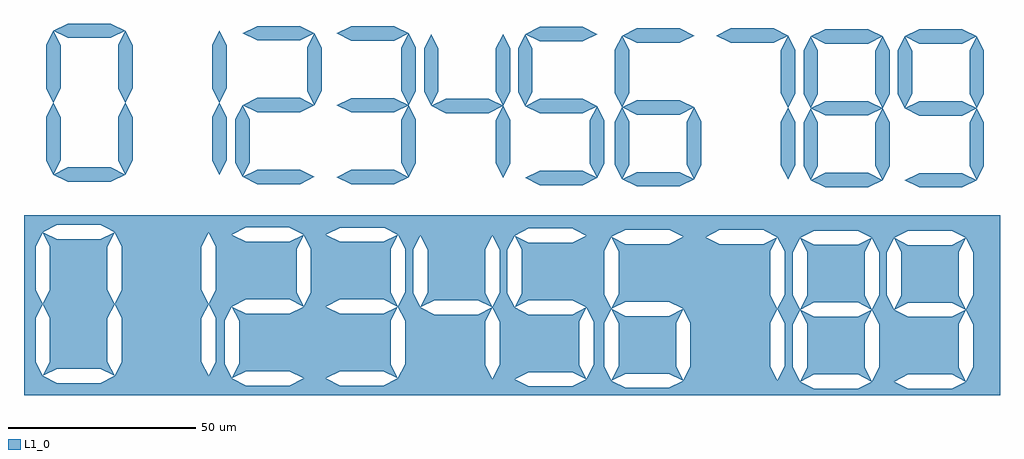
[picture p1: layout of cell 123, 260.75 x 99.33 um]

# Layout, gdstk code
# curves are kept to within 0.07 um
import gdstk
lib = gdstk.Library(unit=1e-6, precision=1e-09)
def P(c, l, *ps):  # polygons
    for p in ps: c.add(gdstk.Polygon(p, *l))
L1_0 = (1, 0)

c_123 = lib.new_cell('123')
P(c_123, L1_0, [(-95.42,-76.6),(-97.34,-72.76),(-97.34,-61.24),(-95.42,-57.4),(-93.5,-61.24),(-93.5,-72.76)],
  [(-76.22,-95.8),(-78.14,-91.96),(-78.14,-80.44),(-76.22,-76.6),(-74.3,-80.44),(-74.3,-91.96)],
  [(-91.58,-59.32),(-95.42,-57.4),(-91.58,-55.48),(-80.06,-55.48),(-76.22,-57.4),(-80.06,-59.32)],
  [(-91.58,-97.72),(-95.42,-95.8),(-91.58,-93.88),(-80.06,-93.88),(-76.22,-95.8),(-80.06,-97.72)],
  [(-76.22,-76.6),(-78.14,-72.76),(-78.14,-61.24),(-76.22,-57.4),(-74.3,-61.24),(-74.3,-72.76)],
  [(-95.42,-95.8),(-97.34,-91.96),(-97.34,-80.44),(-95.42,-76.6),(-93.5,-80.44),(-93.5,-91.96)],
  [(-51.08,-95.82),(-53,-91.98),(-53,-80.46),(-51.08,-76.62),(-49.16,-80.46),(-49.16,-91.98)],
  [(-51.08,-76.62),(-53,-72.78),(-53,-61.26),(-51.08,-57.42),(-49.16,-61.26),(-49.16,-72.78)],
  [(-41.04,-79.18),(-44.88,-77.26),(-41.04,-75.34),(-29.52,-75.34),(-25.68,-77.26),(-29.52,-79.18)],
  [(-41.04,-59.98),(-44.88,-58.06),(-41.04,-56.14),(-29.52,-56.14),(-25.68,-58.06),(-29.52,-59.98)],
  [(-41.04,-98.38),(-44.88,-96.46),(-41.04,-94.54),(-29.52,-94.54),(-25.68,-96.46),(-29.52,-98.38)],
  [(-25.68,-77.26),(-27.6,-73.42),(-27.6,-61.9),(-25.68,-58.06),(-23.76,-61.9),(-23.76,-73.42)],
  [(-44.88,-96.46),(-46.8,-92.62),(-46.8,-81.1),(-44.88,-77.26),(-42.96,-81.1),(-42.96,-92.62)],
  [(-0.54,-96.48),(-2.46,-92.64),(-2.46,-81.12),(-0.54,-77.28),(1.38,-81.12),(1.38,-92.64)],
  [(-15.9,-79.2),(-19.74,-77.28),(-15.9,-75.36),(-4.38,-75.36),(-0.54,-77.28),(-4.38,-79.2)],
  [(-15.9,-60),(-19.74,-58.08),(-15.9,-56.16),(-4.38,-56.16),(-0.54,-58.08),(-4.38,-60)],
  [(-15.9,-98.4),(-19.74,-96.48),(-15.9,-94.56),(-4.38,-94.56),(-0.54,-96.48),(-4.38,-98.4)],
  [(-0.54,-77.28),(-2.46,-73.44),(-2.46,-61.92),(-0.54,-58.08),(1.38,-61.92),(1.38,-73.44)],
  [(5.5,-77.48),(3.58,-73.64),(3.58,-62.12),(5.5,-58.28),(7.42,-62.12),(7.42,-73.64)],
  [(24.7,-96.68),(22.78,-92.84),(22.78,-81.32),(24.7,-77.48),(26.62,-81.32),(26.62,-92.84)],
  [(9.34,-79.4),(5.5,-77.48),(9.34,-75.56),(20.86,-75.56),(24.7,-77.48),(20.86,-79.4)],
  [(24.7,-77.48),(22.78,-73.64),(22.78,-62.12),(24.7,-58.28),(26.62,-62.12),(26.62,-73.64)],
  [(30.64,-77.5),(28.72,-73.66),(28.72,-62.14),(30.64,-58.3),(32.56,-62.14),(32.56,-73.66)],
  [(49.84,-96.7),(47.92,-92.86),(47.92,-81.34),(49.84,-77.5),(51.76,-81.34),(51.76,-92.86)],
  [(34.48,-79.42),(30.64,-77.5),(34.48,-75.58),(46,-75.58),(49.84,-77.5),(46,-79.42)],
  [(34.48,-60.22),(30.64,-58.3),(34.48,-56.38),(46,-56.38),(49.84,-58.3),(46,-60.22)],
  [(34.48,-98.62),(30.64,-96.7),(34.48,-94.78),(46,-94.78),(49.84,-96.7),(46,-98.62)],
  [(56.52,-77.88),(54.6,-74.04),(54.6,-62.52),(56.52,-58.68),(58.44,-62.52),(58.44,-74.04)],
  [(75.72,-97.08),(73.8,-93.24),(73.8,-81.72),(75.72,-77.88),(77.64,-81.72),(77.64,-93.24)],
  [(60.36,-79.8),(56.52,-77.88),(60.36,-75.96),(71.88,-75.96),(75.72,-77.88),(71.88,-79.8)],
  [(60.36,-60.6),(56.52,-58.68),(60.36,-56.76),(71.88,-56.76),(75.72,-58.68),(71.88,-60.6)],
  [(60.36,-99),(56.52,-97.08),(60.36,-95.16),(71.88,-95.16),(75.72,-97.08),(71.88,-99)],
  [(56.52,-97.08),(54.6,-93.24),(54.6,-81.72),(56.52,-77.88),(58.44,-81.72),(58.44,-93.24)],
  [(100.86,-97.1),(98.94,-93.26),(98.94,-81.74),(100.86,-77.9),(102.78,-81.74),(102.78,-93.26)],
  [(85.5,-60.62),(81.66,-58.7),(85.5,-56.78),(97.02,-56.78),(100.86,-58.7),(97.02,-60.62)],
  [(100.86,-77.9),(98.94,-74.06),(98.94,-62.54),(100.86,-58.7),(102.78,-62.54),(102.78,-74.06)],
  [(106.9,-78.1),(104.98,-74.26),(104.98,-62.74),(106.9,-58.9),(108.82,-62.74),(108.82,-74.26)],
  [(126.1,-97.3),(124.18,-93.46),(124.18,-81.94),(126.1,-78.1),(128.02,-81.94),(128.02,-93.46)],
  [(110.74,-80.02),(106.9,-78.1),(110.74,-76.18),(122.26,-76.18),(126.1,-78.1),(122.26,-80.02)],
  [(110.74,-60.82),(106.9,-58.9),(110.74,-56.98),(122.26,-56.98),(126.1,-58.9),(122.26,-60.82)],
  [(110.74,-99.22),(106.9,-97.3),(110.74,-95.38),(122.26,-95.38),(126.1,-97.3),(122.26,-99.22)],
  [(126.1,-78.1),(124.18,-74.26),(124.18,-62.74),(126.1,-58.9),(128.02,-62.74),(128.02,-74.26)],
  [(106.9,-97.3),(104.98,-93.46),(104.98,-81.94),(106.9,-78.1),(108.82,-81.94),(108.82,-93.46)],
  [(132.04,-78.12),(130.12,-74.28),(130.12,-62.76),(132.04,-58.92),(133.96,-62.76),(133.96,-74.28)],
  [(151.24,-97.32),(149.32,-93.48),(149.32,-81.96),(151.24,-78.12),(153.16,-81.96),(153.16,-93.48)],
  [(135.88,-80.04),(132.04,-78.12),(135.88,-76.2),(147.4,-76.2),(151.24,-78.12),(147.4,-80.04)],
  [(135.88,-60.84),(132.04,-58.92),(135.88,-57),(147.4,-57),(151.24,-58.92),(147.4,-60.84)],
  [(135.88,-99.24),(132.04,-97.32),(135.88,-95.4),(147.4,-95.4),(151.24,-97.32),(147.4,-99.24)],
  [(151.24,-78.12),(149.32,-74.28),(149.32,-62.76),(151.24,-58.92),(153.16,-62.76),(153.16,-74.28)],
  [(104.03,-151.1),(105.95,-147.26),(105.95,-135.74),(104.03,-131.9),(107.87,-133.82),(119.39,-133.82),(123.23,-131.9),(121.31,-135.74),(121.31,-147.26),(123.23,-151.1),(119.39,-149.18),(107.87,-149.18)],
  [(53.65,-150.88),(55.57,-147.04),(55.57,-135.52),(53.65,-131.68),(57.49,-133.6),(69.01,-133.6),(72.85,-131.68),(70.93,-135.52),(70.93,-147.04),(72.85,-150.88),(69.01,-148.96),(57.49,-148.96)],
  [(129.17,-131.92),(131.09,-128.08),(131.09,-116.56),(129.17,-112.72),(133.01,-114.64),(144.53,-114.64),(148.37,-112.72),(146.45,-116.56),(146.45,-128.08),(148.37,-131.92),(144.53,-130),(133.01,-130)],
  [(104.03,-131.9),(105.95,-128.06),(105.95,-116.54),(104.03,-112.7),(107.87,-114.62),(119.39,-114.62),(123.23,-112.7),(121.31,-116.54),(121.31,-128.06),(123.23,-131.9),(119.39,-129.98),(107.87,-129.98)],
  [(-98.29,-149.6),(-96.37,-145.76),(-96.37,-134.24),(-98.29,-130.4),(-96.37,-126.56),(-96.37,-115.04),(-98.29,-111.2),(-94.45,-113.12),(-82.93,-113.12),(-79.09,-111.2),(-81.01,-115.04),(-81.01,-126.56),(-79.09,-130.4),(-81.01,-134.24),(-81.01,-145.76),(-79.09,-149.6),(-82.93,-147.68),(-94.45,-147.68)],
  [(-103.29,-154.81),(-103.29,-109.28),(-94.45,-109.28),(-98.29,-111.2),(-100.21,-115.04),(-100.21,-126.56),(-98.29,-130.4),(-100.21,-134.24),(-100.21,-145.76),(-98.29,-149.6),(-94.45,-151.52),(-82.93,-151.52),(-79.09,-149.6),(-77.17,-145.76),(-77.17,-134.24),(-79.09,-130.4),(-77.17,-126.56),(-77.17,-115.04),(-79.08,-111.22),(-53.95,-111.22),(-55.87,-115.06),(-55.87,-126.58),(-53.95,-130.42),(-55.87,-134.26),(-55.87,-145.78),(-53.95,-149.62),(-52.03,-145.78),(-52.03,-134.26),(-53.95,-130.42),(-52.03,-126.58),(-52.03,-115.06),(-53.95,-111.22),(-79.08,-111.22),(-81.61,-109.94),(-43.91,-109.94),(-47.75,-111.86),(-43.91,-113.78),(-32.39,-113.78),(-28.55,-111.86),(-30.47,-115.7),(-30.47,-127.22),(-28.55,-131.06),(-32.39,-129.14),(-43.91,-129.14),(-47.75,-131.06),(-49.67,-134.9),(-49.67,-146.42),(-47.75,-150.26),(-43.91,-152.18),(-32.39,-152.18),(-28.55,-150.26),(-32.39,-148.34),(-43.91,-148.34),(-47.75,-150.26),(-45.83,-146.42),(-45.83,-134.9),(-47.75,-131.06),(-43.91,-132.98),(-32.39,-132.98),(-28.55,-131.06),(-26.63,-127.22),(-26.63,-115.7),(-28.55,-111.86),(-32.35,-109.96),(-18.77,-109.96),(-22.61,-111.88),(-18.77,-113.8),(-7.25,-113.8),(-3.41,-111.88),(-5.33,-115.72),(-5.33,-127.24),(-3.41,-131.08),(-7.25,-129.16),(-18.77,-129.16),(-22.61,-131.08),(-18.77,-133),(-7.25,-133),(-3.41,-131.08),(-5.33,-134.92),(-5.33,-146.44),(-3.41,-150.28),(-7.25,-148.36),(-18.77,-148.36),(-22.61,-150.28),(-18.77,-152.2),(-7.25,-152.2),(-3.41,-150.28),(-1.49,-146.44),(-1.49,-134.92),(-3.41,-131.08),(-1.49,-127.24),(-1.49,-115.72),(-3.31,-112.08),(21.83,-112.08),(19.91,-115.92),(19.91,-127.44),(21.83,-131.28),(17.99,-129.36),(6.47,-129.36),(2.63,-131.28),(4.55,-127.44),(4.55,-115.92),(2.63,-112.08),(0.71,-115.92),(0.71,-127.44),(2.63,-131.28),(6.47,-133.2),(17.99,-133.2),(21.83,-131.28),(19.91,-135.12),(19.91,-146.64),(21.83,-150.48),(23.75,-146.64),(23.75,-135.12),(21.83,-131.28),(23.75,-127.44),(23.75,-115.92),(21.83,-112.08),(-3.31,-112.08),(-3.41,-111.88),(-6.81,-110.18),(31.61,-110.18),(27.77,-112.1),(25.85,-115.94),(25.85,-127.46),(27.77,-131.3),(31.61,-133.22),(43.13,-133.22),(46.97,-131.3),(45.05,-135.14),(45.05,-146.66),(46.97,-150.5),(43.13,-148.58),(31.61,-148.58),(27.77,-150.5),(31.61,-152.42),(43.13,-152.42),(46.97,-150.5),(48.89,-146.66),(48.89,-135.14),(46.97,-131.3),(43.13,-129.38),(31.61,-129.38),(27.77,-131.3),(29.69,-127.46),(29.69,-115.94),(27.77,-112.1),(31.61,-114.02),(43.13,-114.02),(46.97,-112.1),(43.89,-110.56),(57.49,-110.56),(53.65,-112.48),(51.73,-116.32),(51.73,-127.84),(53.65,-131.68),(51.73,-135.52),(51.73,-147.04),(53.65,-150.88),(57.49,-152.8),(69.01,-152.8),(72.85,-150.88),(74.77,-147.04),(74.77,-135.52),(72.85,-131.68),(69.01,-129.76),(57.49,-129.76),(53.65,-131.68),(55.57,-127.84),(55.57,-116.32),(53.65,-112.48),(57.49,-114.4),(69.01,-114.4),(72.85,-112.48),(69.05,-110.58),(82.63,-110.58),(78.79,-112.5),(82.63,-114.42),(94.15,-114.42),(97.99,-112.5),(96.07,-116.34),(96.07,-127.86),(97.99,-131.7),(96.07,-135.54),(96.07,-147.06),(97.99,-150.9),(99.91,-147.06),(99.91,-135.54),(97.99,-131.7),(99.91,-127.86),(99.91,-116.34),(97.99,-112.5),(94.55,-110.78),(107.87,-110.78),(104.03,-112.7),(102.11,-116.54),(102.11,-128.06),(104.03,-131.9),(102.11,-135.74),(102.11,-147.26),(104.03,-151.1),(107.87,-153.02),(119.39,-153.02),(123.23,-151.1),(125.15,-147.26),(125.15,-135.74),(123.23,-131.9),(125.15,-128.06),(125.15,-116.54),(123.23,-112.7),(119.43,-110.8),(133.01,-110.8),(129.17,-112.72),(127.25,-116.56),(127.25,-128.08),(129.17,-131.92),(133.01,-133.84),(144.53,-133.84),(148.37,-131.92),(146.45,-135.76),(146.45,-147.28),(148.37,-151.12),(144.53,-149.2),(133.01,-149.2),(129.17,-151.12),(133.01,-153.04),(144.53,-153.04),(148.37,-151.12),(150.29,-147.28),(150.29,-135.76),(148.37,-131.92),(150.29,-128.08),(150.29,-116.56),(148.37,-112.72),(144.53,-110.8),(94.55,-110.78),(94.15,-110.58),(43.89,-110.56),(43.13,-110.18),(-6.81,-110.18),(-7.25,-109.96),(-81.61,-109.94),(-82.93,-109.28),(-103.29,-109.28),(-103.29,-106.66),(157.46,-106.66),(157.46,-154.81)])

lib.write_gds('123.gds')
